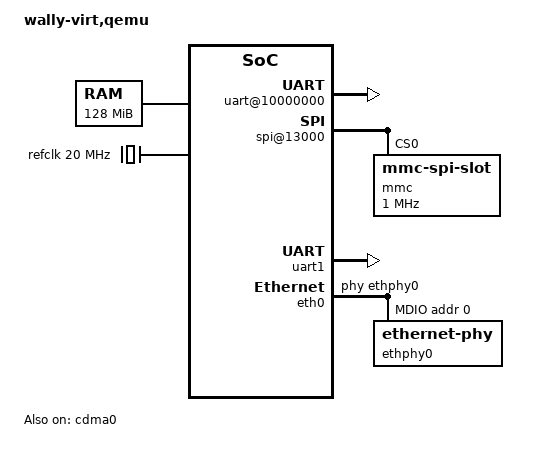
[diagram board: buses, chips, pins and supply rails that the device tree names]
/dts-v1/;

/ {
  #address-cells = <0x02>;
  #size-cells = <0x02>;
  compatible = "wally-virt";
  model = "wally-virt,qemu";

  chosen {
    linux,initrd-end = <0x85c43a00>;
    linux,initrd-start = <0x84200000>;
    bootargs = "root=/dev/vda ro  console=ttyS0,115200 loglevel=7";
    stdout-path = "/soc/uart@10000000";
  };

  memory@80000000 {
    device_type = "memory";
    reg = <0x00 0x80000000 0x00 0x8000000>;
  };

  cpus {
    #address-cells = <0x01>;
    #size-cells = <0x00>;
    clock-frequency = <20000000>;
    timebase-frequency = <20000000>;

    cpu@0 {
      phandle = <0x01>;
      device_type = "cpu";
      reg = <0x00>;
      status = "okay";
      compatible = "riscv";
      riscv,isa-base = "rv64i";
      riscv,isa-extensions = "i", "m", "a", "f", "d", "c", "sstc", "svade", "svadu", "svinval", "svnapot", "svpbmt", "zba", "zbb", "zbc", "zbs", "zca", "zcb", "zcd", "zfa", "zfh", "zkn", "zkt", "zicbom", "zicboz", "zicntr", "zicond", "zicsr", "zifencei", "zihpm";
      riscv,cboz-block-size = <64>;
      riscv,cbom-block-size = <64>;
      mmu-type = "riscv,sv48";

      interrupt-controller {
        #interrupt-cells = <0x01>;
        interrupt-controller;
        compatible = "riscv,cpu-intc";
        phandle = <0x02>;
      };
    };
  };

  soc {
    #address-cells = <0x02>;
    #size-cells = <0x02>;
    compatible = "simple-bus";
    ranges;

    refclk: refclk {
      #clock-cells = <0>;
      compatible = "fixed-clock";
      clock-frequency = <20000000>;
      clock-output-names = "xtal";
    };

    gpio0: gpio@10060000 {
      compatible = "sifive,gpio0";
      interrupt-parent = <0x03>;
      interrupts = <3>;
      reg = <0x00 0x10060000 0x00 0x1000>;
      reg-names = "control";
      gpio-controller;
      #gpio-cells = <2>;
      interrupt-controller;
      #interrupt-cells = <2>;
    };

    uart@10000000 {
      interrupts = <0x0a>;
      interrupt-parent = <0x03>;
      clock-frequency = <20000000>;
      reg = <0x00 0x10000000 0x00 0x100>;
      compatible = "ns16550a";
    };

    plic: plic@c000000 {
      phandle = <0x03>;
      riscv,ndev = <0x35>;
      reg = <0x00 0xc000000 0x00 0x210000>;
      interrupts-extended = <0x02 0x0b 0x02 0x09>;
      interrupt-controller;
      compatible = "sifive,plic-1.0.0\0riscv,plic0";
      #interrupt-cells = <0x01>;
      #address-cells = <0x00>;
    };

    spi@13000 {
      compatible = "sifive,spi0";
      interrupt-parent = <0x03>;
      interrupts = <0x14>;
      reg = <0x0 0x13000 0x0 0x1000>;
      reg-names = "control";
      clocks = <&refclk>;

      #address-cells = <1>;
      #size-cells = <0>;
      mmc@0 {
        compatible = "mmc-spi-slot";
        reg = <0>;
        spi-max-frequency = <1000000>;
        voltage-ranges = <3300 3300>;
        disable-wp;
        // gpios = <&gpio0 6 1>;
      };
    };

    clint@2000000 {
      interrupts-extended = <0x02 0x03 0x02 0x07>;
      reg = <0x00 0x2000000 0x00 0x10000>;
      compatible = "sifive,clint0\0riscv,clint0";
    };

    // Wishbone stuff ---------------
    uart1: uart@11004000 {
        compatible = "ns16550a";
        reg = <0x0 0x11004000 0x0 0x1000>;

        interrupt-parent = <0x03>;
        interrupts = <0x0b>; // 11

        clock-frequency = <200000000>;
        reg-shift = <0>;
        reg-io-width = <1>;

        status = "okay";
    };

    eth0: ethernet@11003000 {
        compatible = "litex,liteeth";

        reg = <0x0 0x11003000 0x0 0x100>,   // mac  (csr+0x1000) 
                <0x0 0x11002800 0x0 0x100>,   // mdio (csr+0x0800)
                <0x0 0x11000000 0x0 0x2000>;  // buffer 
        reg-names = "mac", "mdio", "buffer";

        interrupt-parent = <0x03>;
        interrupts = <0xC>;

        litex,rx-slots  = <2>;
        litex,tx-slots  = <2>;
        litex,slot-size = <0x800>;

        phy-handle = <&ethphy0>;
        status = "okay";

        mdio {
            #address-cells = <1>;
            #size-cells = <0>;

            ethphy0: ethernet-phy@0 {
                reg = <0>; // <-- set to your PHY strap addr if not 0
            };
        };

    };
    //---------------------------------------------

    busclk: busclk {
      #clock-cells = <0>;
      compatible = "fixed-clock";
      // Clock      Period(ns)  Waveform(ns)   Attributes  Sources
      // clk_pll_i  12.308      {0.000 6.154}  P,G,A       {ddr2/u_ddr2_mig/u_ddr2_infrastructure/gen_mmcm.mmcm_i/CLKFBOUT}
      clock-frequency = <81250000>; //This is the speed of signal 'ddr2/ui_clk' (DDR2 block OUTPUT, 12.308 ns)
      clock-output-names = "busclk";
    };

    cdma0: dma@100A0000 {
        compatible = "xlnx,axi-cdma-1.00.a";
        //reg = <0x100A0000 0x1000>;
        reg = <0x0 0x100A0000 0x0 0x1000>;

        #dma-cells = <1>;
        xlnx,addrwidth = <0x20>;              /* 32-bit addresses */
        status = "okay";

        /*
        * DMA visible memory window.
        * For your 128MB DDR at 0x8000_0000..0x87FF_FFFF:
        */
        //dma-ranges = <0x80000000 0x80000000 0x08000000>;
        //dma-ranges = <0x0 0x80000000  0x0 0x80000000  0x08000000>;

        clock-names = "s_axi_lite_aclk", "m_axi_aclk", "axi_aclk";
        clocks = <&busclk>, <&busclk>, <&busclk>;

        // Mark non-coherent
        dma-noncoherent;

        interrupt-parent = <&plic>;           /* replace with your real interrupt controller phandle */
        interrupts = <13>;              /* replace with the PLIC source number you wired */

        dma-channel@100A0000 {
            compatible = "xlnx,axi-cdma-channel";
            interrupts = <13>;
            xlnx,datawidth = <0x40>;          /* 64-bit datapath (common to keep consistent) */
            xlnx,device-id = <0>;
            xlnx,max-burst-len = <0x10>;
        };
    };


    //---------------------------------------------    
  };

    reserved-memory {
        #address-cells = <2>;
        #size-cells = <2>;
        ranges;

        framebuffer@87E00000 {
            reg = <0x0 0x87E00000 0x0 0x00096000>; // 640 KiB reserved
            no-map;
        };
        dmabuffer@87F00000 {
            compatible = "shared-dma-pool"; // for later DMA use
            reg = <0x0 0x87F00000 0x0 0x00100000>; // 1 MiB reserved
            no-map;
        };
    };
    



};


//---------------------------------------------
// VGA stuff

/ {
    /*
    //640x480
    framebuffer0: framebuffer@87e00000 {
        compatible = "simple-framebuffer";
        reg = <0x0 0x87E00000 0x0 0x00096000>;
        width = <640>;
        height = <480>;
        stride = <1280>;  // 640 * 2
        format = "r5g6b5";
    };
     */
    //320 x 240
    framebuffer0: framebuffer@87e00000 {
        compatible = "simple-framebuffer";
        reg = <0x0 0x87E00000 0x0 0x00025800>;
        width = <320>;
        height = <240>;
        stride = <640>;  // 320 * 2
        format = "r5g6b5";
    };

};
